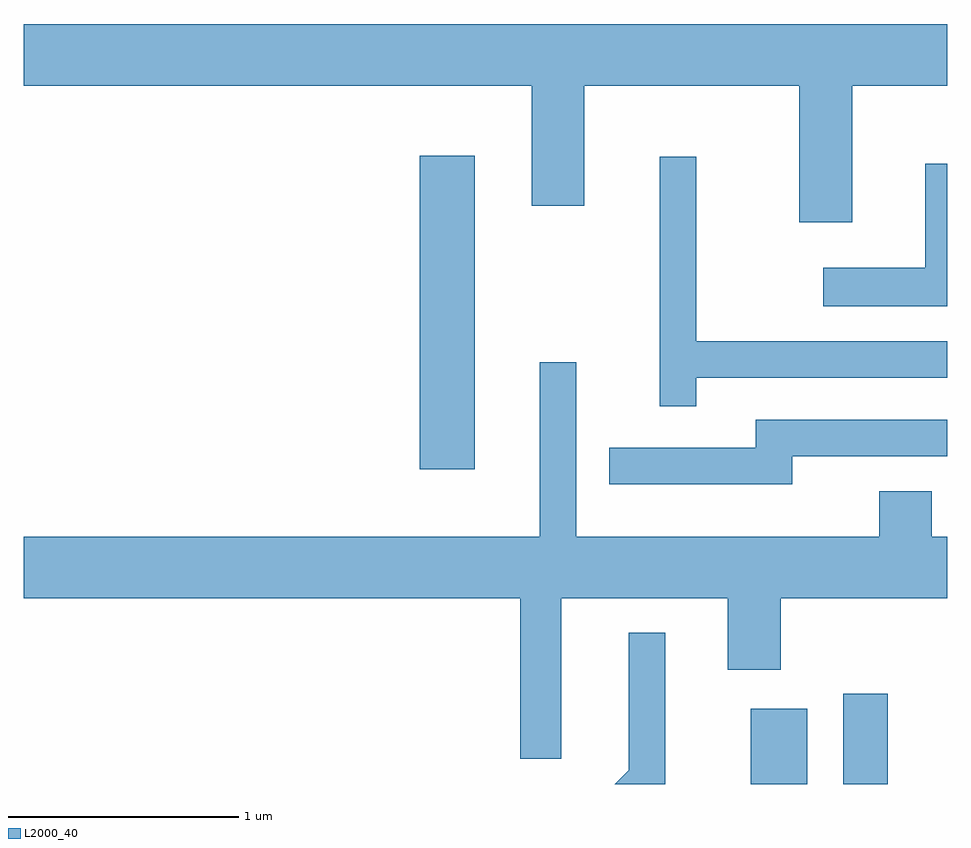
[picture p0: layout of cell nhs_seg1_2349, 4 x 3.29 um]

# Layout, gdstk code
import gdstk
lib = gdstk.Library(unit=1e-6, precision=1e-09)
def R(c, l, rs):  # rectangles x0, y0, x1, y1
    for r in rs: c.add(gdstk.rectangle(r[:2], r[2:], *l))
def P(c, l, *ps):  # polygons
    for p in ps: c.add(gdstk.Polygon(p, *l))
L2000_40 = (2000, 40)

nhs_seg1_2349 = lib.new_cell('nhs_seg1_2349')
R(nhs_seg1_2349, L2000_40, [(260.761,847.712,261.004,848.039), (261.161,847.712,261.354,848.104), (259.326,849.076,259.564,850.434)])
P(nhs_seg1_2349, L2000_40, [(261.199,850.736),(261.611,850.736),(261.611,851.004),(257.611,851.004),(257.611,850.736),(259.811,850.736),(259.811,850.216),(260.039,850.216),(260.039,850.736),(260.971,850.736),(260.971,850.146),(261.199,850.146)],
  [(260.524,849.471),(261.611,849.471),(261.611,849.629),(260.524,849.629),(260.524,850.428),(260.366,850.428),(260.366,849.348),(260.524,849.348)],
  [(261.611,850.399),(261.516,850.399),(261.516,849.949),(261.073,849.949),(261.073,849.781),(261.611,849.781)],
  [(259.939,848.516),(260.661,848.516),(260.661,848.206),(260.889,848.206),(260.889,848.516),(261.611,848.516),(261.611,848.784),(261.544,848.784),(261.544,848.979),(261.316,848.979),(261.316,848.784),(260.004,848.784),(260.004,849.538),(259.846,849.538),(259.846,848.784),(257.611,848.784),(257.611,848.516),(259.761,848.516),(259.761,847.821),(259.939,847.821)],
  [(260.939,849.131),(261.611,849.131),(261.611,849.289),(260.781,849.289),(260.781,849.169),(260.147,849.169),(260.147,849.011),(260.939,849.011)],
  [(260.389,848.368),(260.231,848.368),(260.231,847.772),(260.171,847.712),(260.389,847.712)])

lib.write_gds('nhs_seg1_2349.gds')
